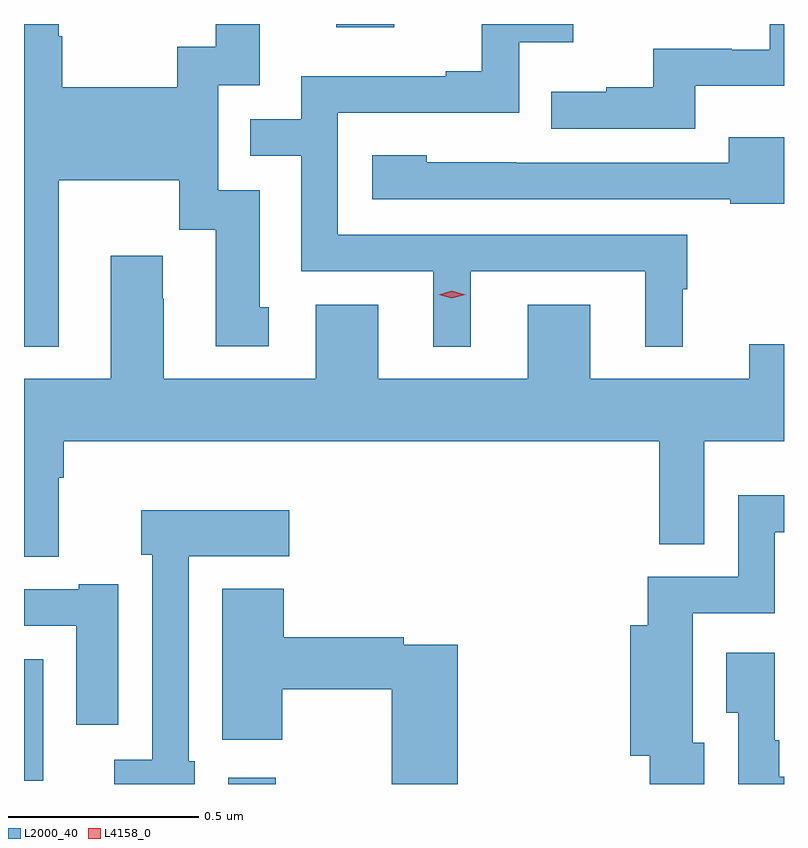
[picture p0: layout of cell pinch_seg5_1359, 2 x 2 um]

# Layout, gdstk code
import gdstk
lib = gdstk.Library(unit=1e-6, precision=1e-09)
def R(c, l, rs):  # rectangles x0, y0, x1, y1
    for r in rs: c.add(gdstk.rectangle(r[:2], r[2:], *l))
def P(c, l, *ps):  # polygons
    for p in ps: c.add(gdstk.Polygon(p, *l))
L2000_40 = (2000, 40)
L4158_0 = (4158, 0)

pinch_seg5_1359 = lib.new_cell('pinch_seg5_1359')
R(pinch_seg5_1359, L2000_40, [(364.262,897.15,364.388,897.166), (363.725,897.158,363.775,897.478), (364.547,899.142,364.699,899.15)])
P(pinch_seg5_1359, L2000_40, [(364.9,898.5),(365.36,898.5),(365.36,898.301),(365.458,898.301),(365.458,898.452),(365.47,898.452),(365.47,898.596),(364.551,898.596),(364.551,898.917),(365.028,898.917),(365.028,899.102),(365.17,899.102),(365.17,899.15),(364.93,899.15),(364.93,899.026),(364.835,899.026),(364.835,899.013),(364.455,899.013),(364.455,898.899),(364.321,898.899),(364.321,898.803),(364.455,898.803),(364.455,898.5),(364.802,898.5),(364.802,898.301),(364.9,898.301)],
  [(365.491,898.988),(365.725,898.988),(365.725,899.15),(365.688,899.15),(365.688,899.082),(365.588,899.082),(365.588,899.085),(365.381,899.085),(365.381,898.984),(365.257,898.984),(365.257,898.972),(365.113,898.972),(365.113,898.875),(365.491,898.875)],
  [(363.817,898.739),(364.133,898.739),(364.133,898.608),(364.229,898.608),(364.229,898.302),(364.369,898.302),(364.369,898.404),(364.345,898.404),(364.345,898.713),(364.236,898.713),(364.236,898.989),(364.345,898.989),(364.345,899.15),(364.229,899.15),(364.229,899.09),(364.128,899.09),(364.128,898.984),(363.825,898.984),(363.825,899.118),(363.817,899.118),(363.817,899.15),(363.725,899.15),(363.725,898.301),(363.817,898.301)],
  [(365.725,898.852),(365.579,898.852),(365.579,898.785),(365.021,898.785),(365.021,898.786),(364.785,898.786),(364.785,898.804),(364.641,898.804),(364.641,898.689),(365.583,898.689),(365.583,898.677),(365.725,898.677)],
  [(363.817,897.956),(363.83,897.956),(363.83,898.052),(365.397,898.052),(365.397,897.781),(365.515,897.781),(365.515,898.052),(365.725,898.052),(365.725,898.307),(365.633,898.307),(365.633,898.216),(365.215,898.216),(365.215,898.411),(365.051,898.411),(365.051,898.216),(364.657,898.216),(364.657,898.411),(364.493,898.411),(364.493,898.216),(364.093,898.216),(364.093,898.427),(364.09,898.427),(364.09,898.54),(363.953,898.54),(363.953,898.216),(363.725,898.216),(363.725,897.748),(363.817,897.748)],
  [(365.515,897.259),(365.485,897.259),(365.485,897.6),(365.7,897.6),(365.7,897.813),(365.725,897.813),(365.725,897.91),(365.604,897.91),(365.604,897.696),(365.367,897.696),(365.367,897.568),(365.32,897.568),(365.32,897.224),(365.372,897.224),(365.372,897.15),(365.515,897.15)],
  [(364.174,897.21),(364.158,897.21),(364.158,897.749),(364.423,897.749),(364.423,897.871),(364.034,897.871),(364.034,897.753),(364.062,897.753),(364.062,897.214),(363.962,897.214),(363.962,897.15),(364.174,897.15)],
  [(363.973,897.676),(363.869,897.676),(363.869,897.663),(363.725,897.663),(363.725,897.567),(363.863,897.567),(363.863,897.306),(363.973,897.306)],
  [(364.866,897.516),(364.724,897.516),(364.724,897.536),(364.409,897.536),(364.409,897.664),(364.247,897.664),(364.247,897.267),(364.404,897.267),(364.404,897.4),(364.693,897.4),(364.693,897.15),(364.866,897.15)],
  [(365.725,897.169),(365.713,897.169),(365.713,897.265),(365.7,897.265),(365.7,897.496),(365.573,897.496),(365.573,897.337),(365.604,897.337),(365.604,897.15),(365.725,897.15)])
P(pinch_seg5_1359, L4158_0, [(364.851,898.428),(364.816,898.438),(364.815,898.438),(364.816,898.438),(364.851,898.448),(364.886,898.438),(364.887,898.438),(364.886,898.438)])

lib.write_gds('pinch_seg5_1359.gds')
